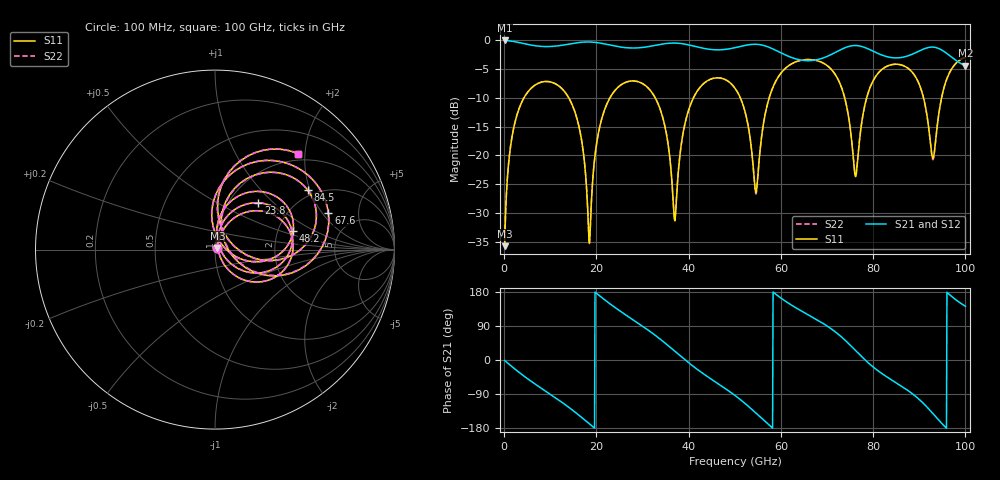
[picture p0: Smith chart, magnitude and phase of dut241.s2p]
! Touchstone file exported from HFSS 2026.1.0
!  File:  C:/ffzhzh/LocalFiles/Ansys_Project_Files/temp_train_TSV_RDL_241_1783667316_26216.aedt
!  Generated:  03:17:50 PM Jul 10, 2026
!  Design:  TSV_RDL
!  Project:  temp_train_TSV_RDL_241_1783667316_26216
! Variables:
!  h_bsmrdl = 4.97um
!  h_ox = 20um
!  h_rdl = 5um
!  h_sub = 54.61um
!  h_tmrdl = 4.39um
!  h_tsv = 54.61um
!  h_via = 3um
!  l_bsmrdl = 560.51um
!  l_sub = 3110.78um
!  l_tmrdl = 232.06um
!  m_sub = 200um
!  pitch = 41.98um
!  r_tsv = 12.24um
!  s_tmrdl = 10um
!  w_bsmrdl = 22.96um
!  w_sub = 500um
!  w_tmrdl = 10.71um
!  x_tsv_center1 = 237.415um
!  x_tsv_center2 = 820.885um
!  x_tsv_center3 = 1063.655um
!  x_tsv_center4 = 1647.125um
!  x_tsv_center5 = 1889.895um
!  x_tsv_center6 = 2473.365um
# GHz S MA R 50.000000
! Terminal data exported
! Port[1] = TM_RDL1_1_T1
! Port[2] = TM_RDL5_1_T1
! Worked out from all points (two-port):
!   1000 points, 100 MHz to 100 GHz, reference 50 ohm
!   highest |S21| = -0.12 dB at 100 MHz (marker M1); lowest = -4.5 dB at 100 GHz (marker M2)
!   |S21| within 3 dB of the highest: start of sweep to 62.5 GHz; 69.25 GHz to 84.5 GHz (15.25 GHz wide, 19.8 % of centre) (the widest 2 of 3)
!   lowest |S11| = -35.7 dB at 100 MHz (marker M3), VSWR 1.03, Z = 51.4 + j0.954 ohm
!   |S11| at or under -10 dB: 13.98 GHz to 22.96 GHz (8.985 GHz wide, 48.6 % of centre); 32.73 GHz to 41.06 GHz (8.337 GHz wide, 22.6 % of centre); 51.18 GHz to 57.48 GHz (6.294 GHz wide, 11.6 % of centre) (the widest 3 of 6)
!   |S22| runs from -35.7 to -3.0 dB; largest |S21 - S12| = 4.8e-14
!   S11 on the Smith chart (normalised r, x): 100 MHz: 1.03, +0.02; 23.8 GHz: 1.36, +0.81; 48.2 GHz: 2.43, +0.62; 67.6 GHz: 3.15, +2.30; 84.5 GHz: 1.81, +1.93; 100 GHz: 0.88, +1.87
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0.1  0.01644 34.4  0.9866 -1.1  0.9866 -1.1  0.01644 34.4
! Gamma 0 0 0 0
! Port Impedance 50 0 50 0
1.9  0.1601 63.9  0.9689 -19.6  0.9689 -19.6  0.1601 63.9
5.5  0.3683 33.3  0.9052 -53.1  0.9052 -53.1  0.3683 33.3
16.8  0.1348 -56.5  0.9521 -151.5  0.9521 -151.5  0.1347 -56.6
18.5  0.01749 15.9  0.9569 -168.6  0.9569 -168.6  0.01733 16.1
20.5  0.1608 73.6  0.9404 171.3  0.9404 171.3  0.1608 73.7
23.8  0.3553 47.2  0.8859 140.6  0.8859 140.6  0.3553 47.3
33.4  0.2779 -28.0  0.9052 59.2  0.9052 59.2  0.2779 -27.7
37  0.0272 23.8  0.9365 23.1  0.9365 23.1  0.02844 24.0
40.6  0.2876 71.4  0.8916 -13.0  0.8916 -13.0  0.2879 71.1
48.2  0.447 13.2  0.8282 -77.5  0.8282 -77.5  0.4472 13.1
50.1  0.3787 -1.2  0.8553 -94.0  0.8553 -94.0  0.3789 -1.4
54.6  0.04774 39.2  0.9139 -140.3  0.9139 -140.3  0.04643 38.9
58.5  0.4075 80.3  0.8248 177.5  0.8248 177.5  0.4072 80.6
66.7  0.6727 23.6  0.6618 114.0  0.6618 114.0  0.6726 23.8
67.6  0.6637 17.9  0.6695 107.8  0.6695 107.8  0.6636 18.1
73.1  0.391 -21.7  0.8258 61.2  0.8258 61.2  0.3914 -21.2
76.2  0.06561 25.9  0.8922 24.7  0.8922 24.7  0.06888 25.9
83.4  0.5997 40.1  0.7083 -48.0  0.7083 -48.0  0.5998 40.0
84.5  0.6136 32.8  0.6984 -56.4  0.6984 -56.4  0.6136 32.6
93  0.09428 40.1  0.8641 -142.0  0.8641 -142.0  0.09202 40.1
100  0.707 48.9  0.5957 141.7  0.5957 141.7  0.7068 49.1
